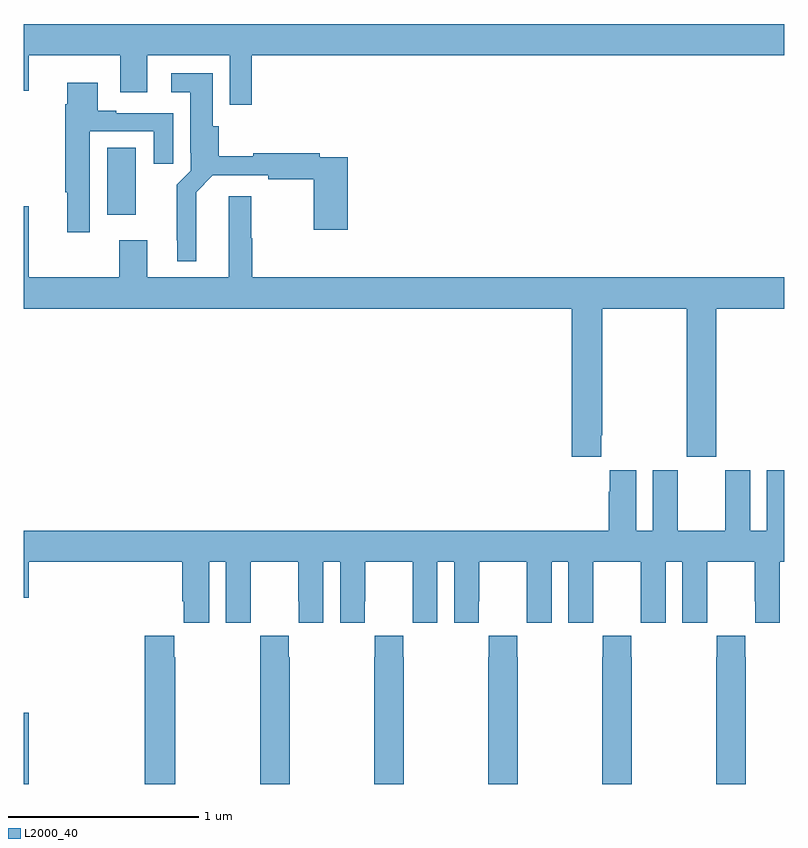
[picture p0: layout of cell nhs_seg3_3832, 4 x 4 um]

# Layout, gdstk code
import gdstk
lib = gdstk.Library(unit=1e-6, precision=1e-09)
def R(c, l, rs):  # rectangles x0, y0, x1, y1
    for r in rs: c.add(gdstk.rectangle(r[:2], r[2:], *l))
def P(c, l, *ps):  # polygons
    for p in ps: c.add(gdstk.Polygon(p, *l))
L2000_40 = (2000, 40)

nhs_seg3_3832 = lib.new_cell('nhs_seg3_3832')
R(nhs_seg3_3832, L2000_40, [(309,714.4,309.028,714.775), (309.44,717.393,309.589,717.746)])
P(nhs_seg3_3832, L2000_40, [(310.199,718.232),(313,718.232),(313,718.396),(309,718.396),(309,718.044),(309.028,718.044),(309.028,718.232),(309.509,718.232),(309.509,718.038),(309.649,718.038),(309.649,718.232),(310.083,718.232),(310.083,717.972),(310.199,717.972)],
  [(309.907,717.512),(309.994,717.6),(310.285,717.6),(310.285,717.58),(310.525,717.58),(310.525,717.315),(310.703,717.315),(310.703,717.696),(310.556,717.696),(310.556,717.716),(310.208,717.716),(310.208,717.701),(310.025,717.701),(310.025,717.858),(309.994,717.858),(309.994,718.138),(309.777,718.138),(309.777,718.037),(309.875,718.037),(309.875,717.718),(309.879,717.718),(309.879,717.624),(309.805,717.55),(309.805,717.259),(309.809,717.259),(309.809,717.149),(309.907,717.149)],
  [(309.349,717.831),(309.683,717.831),(309.683,717.66),(309.787,717.66),(309.787,717.927),(309.487,717.927),(309.487,717.94),(309.391,717.94),(309.391,718.087),(309.23,718.087),(309.23,717.974),(309.218,717.974),(309.218,717.512),(309.23,717.512),(309.23,717.3),(309.349,717.3)],
  [(310.202,717.269),(310.197,717.269),(310.197,717.49),(310.079,717.49),(310.079,717.064),(309.649,717.064),(309.649,717.259),(309.502,717.259),(309.502,717.064),(309.028,717.064),(309.028,717.439),(309,717.439),(309,716.9),(311.882,716.9),(311.882,716.121),(312.037,716.121),(312.037,716.233),(312.042,716.233),(312.042,716.9),(312.487,716.9),(312.487,716.121),(312.642,716.121),(312.642,716.9),(313,716.9),(313,717.064),(310.202,717.064)],
  [(309.976,715.568),(310.064,715.568),(310.064,715.248),(310.194,715.248),(310.194,715.36),(310.195,715.36),(310.195,715.568),(310.445,715.568),(310.445,715.36),(310.446,715.36),(310.446,715.248),(310.576,715.248),(310.576,715.568),(310.664,715.568),(310.664,715.248),(310.794,715.248),(310.794,715.36),(310.795,715.36),(310.795,715.568),(311.045,715.568),(311.045,715.36),(311.046,715.36),(311.046,715.248),(311.176,715.248),(311.176,715.568),(311.264,715.568),(311.264,715.248),(311.394,715.248),(311.394,715.36),(311.395,715.36),(311.395,715.568),(311.645,715.568),(311.645,715.36),(311.646,715.36),(311.646,715.248),(311.776,715.248),(311.776,715.568),(311.864,715.568),(311.864,715.248),(311.994,715.248),(311.994,715.36),(311.995,715.36),(311.995,715.568),(312.245,715.568),(312.245,715.36),(312.246,715.36),(312.246,715.248),(312.376,715.248),(312.376,715.568),(312.464,715.568),(312.464,715.248),(312.594,715.248),(312.594,715.36),(312.595,715.36),(312.595,715.568),(312.845,715.568),(312.845,715.36),(312.846,715.36),(312.846,715.248),(312.976,715.248),(312.976,715.568),(313,715.568),(313,716.05),(312.908,716.05),(312.908,715.732),(312.82,715.732),(312.82,716.05),(312.689,716.05),(312.689,715.732),(312.439,715.732),(312.439,716.05),(312.308,716.05),(312.308,715.732),(312.22,715.732),(312.22,716.05),(312.083,716.05),(312.083,715.937),(312.077,715.937),(312.077,715.732),(309,715.732),(309,715.38),(309.028,715.38),(309.028,715.568),(309.833,715.568),(309.833,715.36),(309.842,715.36),(309.842,715.248),(309.976,715.248)],
  [(312.798,715.067),(312.795,715.067),(312.795,715.18),(312.645,715.18),(312.645,715.067),(312.643,715.067),(312.643,714.4),(312.798,714.4)],
  [(312.198,715.067),(312.195,715.067),(312.195,715.18),(312.045,715.18),(312.045,715.067),(312.043,715.067),(312.043,714.4),(312.198,714.4)],
  [(311.598,715.067),(311.595,715.067),(311.595,715.18),(311.445,715.18),(311.445,715.067),(311.443,715.067),(311.443,714.4),(311.598,714.4)],
  [(310.998,715.067),(310.995,715.067),(310.995,715.18),(310.845,715.18),(310.845,715.067),(310.843,715.067),(310.843,714.4),(310.998,714.4)],
  [(310.398,715.067),(310.395,715.067),(310.395,715.18),(310.245,715.18),(310.245,715.067),(310.243,715.067),(310.243,714.4),(310.398,714.4)],
  [(309.798,715.067),(309.791,715.067),(309.791,715.18),(309.638,715.18),(309.638,714.4),(309.798,714.4)])

lib.write_gds('nhs_seg3_3832.gds')
